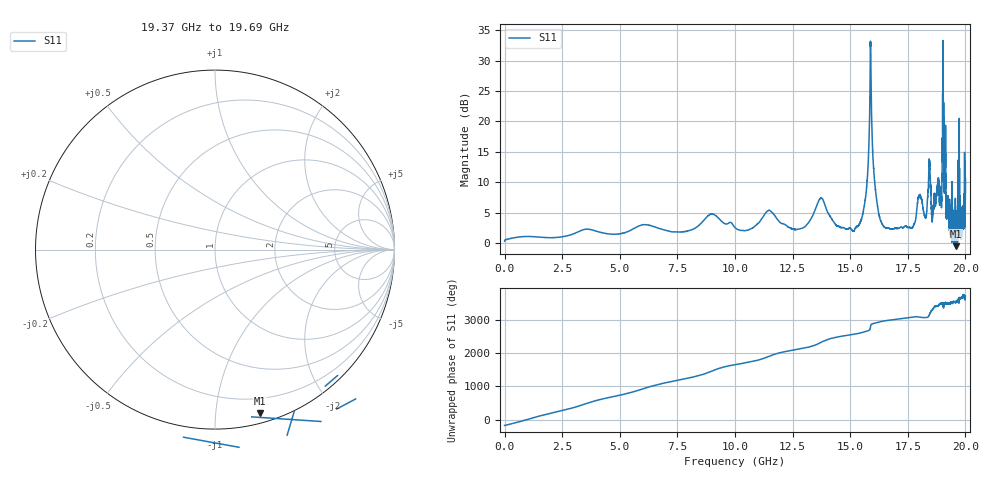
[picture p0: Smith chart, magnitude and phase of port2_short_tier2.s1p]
! Created with skrf 1.8.0 (http://scikit-rf.org).
# GHz S RI R 50.0
!freq ReS11 ImS11
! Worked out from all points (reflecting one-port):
!   10001 points, 1 MHz to 20 GHz, reference 50 ohm
!   lowest |S11| = -0.5 dB at 19.58 GHz (marker M1), VSWR 34.02, Z = 3.99 - j65.3 ohm
!   phase of S11 starts at -178 deg and turns +3890 deg over the sweep
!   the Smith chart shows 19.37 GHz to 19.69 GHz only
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0.001  -1.035 -0.0304
2.500875  0.0121 -1.126
5.00075  1.174 0.2054
6.344683  0.0848 -1.387
7.500625  -0.1639 1.224
8.960552  1.729 0.1131
10.0005  -1.224 -0.5458
11.45843  -0.1175 1.85
12.50038  0.2181 -1.289
13.28234  1.353 0.7839
13.79431  -2.318 0.0492
15.00025  1.233 0.4963
15.63022  -0.8195 1.945
15.75421  -2.923 2.225
15.78221  -3.993 2.278
15.81021  -5.973 2.337
15.88421  1.853 -44.81
15.9622  6.612 -0.7487
15.9862  5.112 -0.0618
16.0422  3.475 0.6947
16.29219  0.9492 1.275
17.50013  -1.329 0.2125
18.32608  -1.821 -0.1971
18.53407  1.494 0.8911
18.69407  -1.959 0.8453
19.04205  -4.09 -5.575
19.57802  0.2485 -0.9096
20  -0.9631 2.454
